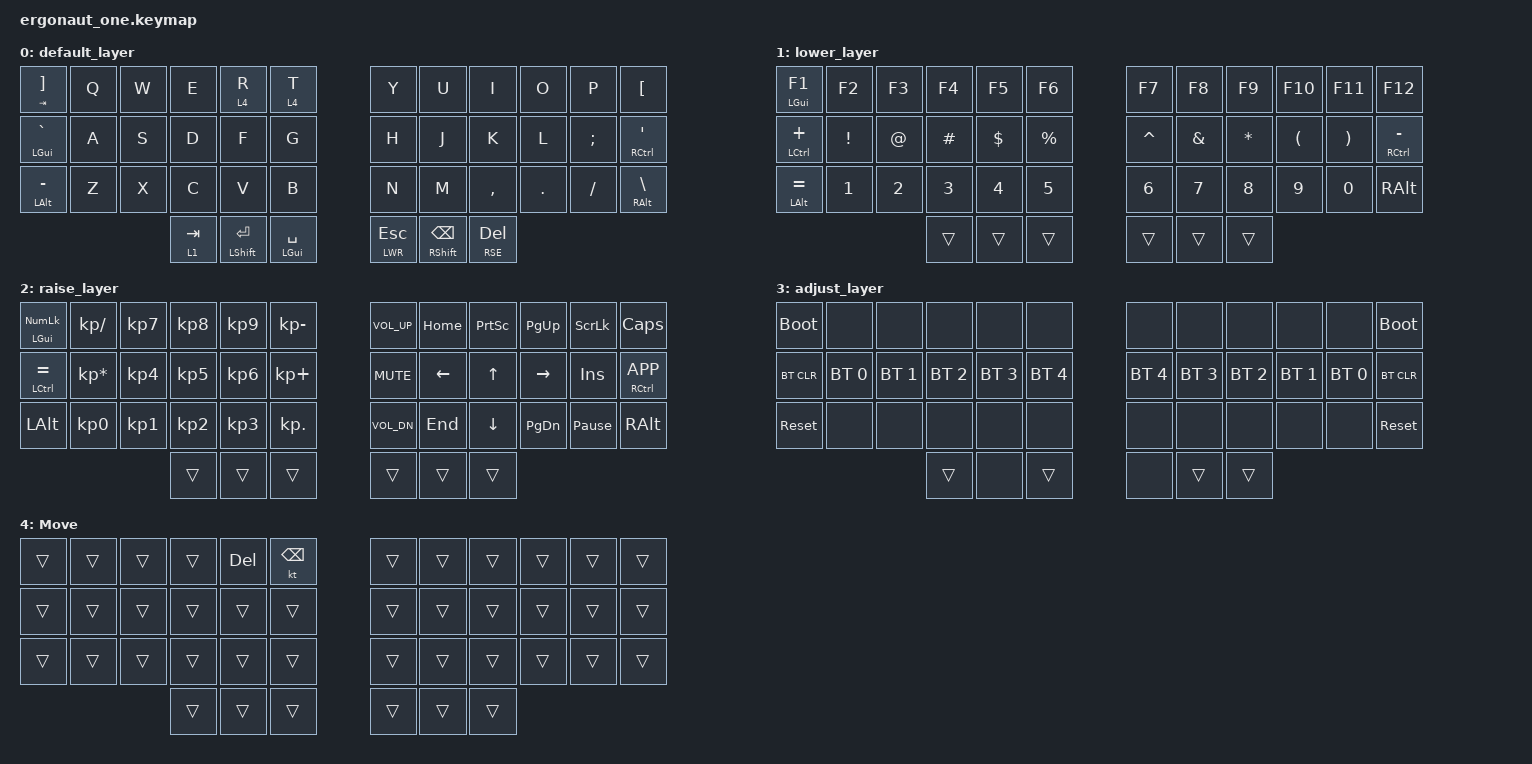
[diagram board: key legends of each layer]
#include <behaviors.dtsi>
#include <dt-bindings/zmk/bt.h>
#include <dt-bindings/zmk/keys.h>
#include <dt-bindings/zmk/keys.h>

#define DEF 0
#define LWR 1
#define RSE 2
#define ADJ 3

&lt { quick-tap-ms = <200>; };

&mt { quick-tap-ms = <200>; };

/ {
    conditional_layers {
        compatible = "zmk,conditional-layers";

        tri-layer {
            if-layers = <1 2>;
            then-layer = <3>;
        };
    };

    combos {
        compatible = "zmk,combos";

        TG_ENT {
            bindings = <&kp ENTER>;
            key-positions = <5 17>;
        };

        FG_RET {
            bindings = <&kp RET>;
            key-positions = <16 17>;
        };
    };

    keymap {
        compatible = "zmk,keymap";

        default_layer {
            bindings = <
&mt TAB RBKT        &kp Q  &kp W  &kp E      &lt 4 R               &lt 4 T             &kp Y        &kp U           &kp I        &kp O    &kp P     &kp LBKT
&mt LEFT_GUI GRAVE  &kp A  &kp S  &kp D      &kp F                 &kp G               &kp H        &kp J           &kp K        &kp L    &kp SEMI  &mt RCTRL SQT
&mt LALT MINUS      &kp Z  &kp X  &kp C      &kp V                 &kp B               &kp N        &kp M           &kp COMMA    &kp DOT  &kp FSLH  &mt RALT BSLH
                                  &lt 1 TAB  &mt LEFT_SHIFT ENTER  &mt LEFT_GUI SPACE  &lt LWR ESC  &mt RSHFT BSPC  &lt RSE DEL
            >;
        };

        lower_layer {
            bindings = <
&mt LGUI F1     &kp F2    &kp F3  &kp F4    &kp F5    &kp F6     &kp F7     &kp F8    &kp F9    &kp F10   &kp F11   &kp F12
&mt LCTRL PLUS  &kp EXCL  &kp AT  &kp HASH  &kp DLLR  &kp PRCNT  &kp CARET  &kp AMPS  &kp STAR  &kp LPAR  &kp RPAR  &mt RCTRL MINUS
&mt LALT EQUAL  &kp N1    &kp N2  &kp N3    &kp N4    &kp N5     &kp N6     &kp N7    &kp N8    &kp N9    &kp N0    &kp RALT
                                  &trans    &trans    &trans     &trans     &trans    &trans
            >;
        };

        raise_layer {
            bindings = <
&mt LGUI KP_NUM  &kp KP_SLASH     &kp KP_N7  &kp KP_N8  &kp KP_N9  &kp KP_MINUS  &kp C_VOL_UP  &kp HOME  &kp PSCRN  &kp PG_UP  &kp SLCK         &kp CLCK
&mt LCTRL EQUAL  &kp KP_MULTIPLY  &kp KP_N4  &kp KP_N5  &kp KP_N6  &kp KP_PLUS   &kp C_MUTE    &kp LEFT  &kp UP     &kp RIGHT  &kp INS          &mt RCTRL K_APP
&kp LALT         &kp KP_N0        &kp KP_N1  &kp KP_N2  &kp KP_N3  &kp KP_DOT    &kp C_VOL_DN  &kp END   &kp DOWN   &kp PG_DN  &kp PAUSE_BREAK  &kp RALT
                                             &trans     &trans     &trans        &trans        &trans    &trans
            >;
        };

        adjust_layer {
            bindings = <
&bootloader  &none         &none         &none         &none         &none         &none         &none         &none         &none         &none         &bootloader
&bt BT_CLR   &bt BT_SEL 0  &bt BT_SEL 1  &bt BT_SEL 2  &bt BT_SEL 3  &bt BT_SEL 4  &bt BT_SEL 4  &bt BT_SEL 3  &bt BT_SEL 2  &bt BT_SEL 1  &bt BT_SEL 0  &bt BT_CLR
&sys_reset   &none         &none         &none         &none         &none         &none         &none         &none         &none         &none         &sys_reset
                                         &trans        &none         &trans        &none         &trans        &trans
            >;
        };

        Move {
            bindings = <
&trans  &trans  &trans  &trans  &kp DEL  &kt BACKSPACE  &trans  &trans  &trans  &trans  &trans  &trans
&trans  &trans  &trans  &trans  &trans   &trans         &trans  &trans  &trans  &trans  &trans  &trans
&trans  &trans  &trans  &trans  &trans   &trans         &trans  &trans  &trans  &trans  &trans  &trans
                        &trans  &trans   &trans         &trans  &trans  &trans
            >;
        };
    };
};
